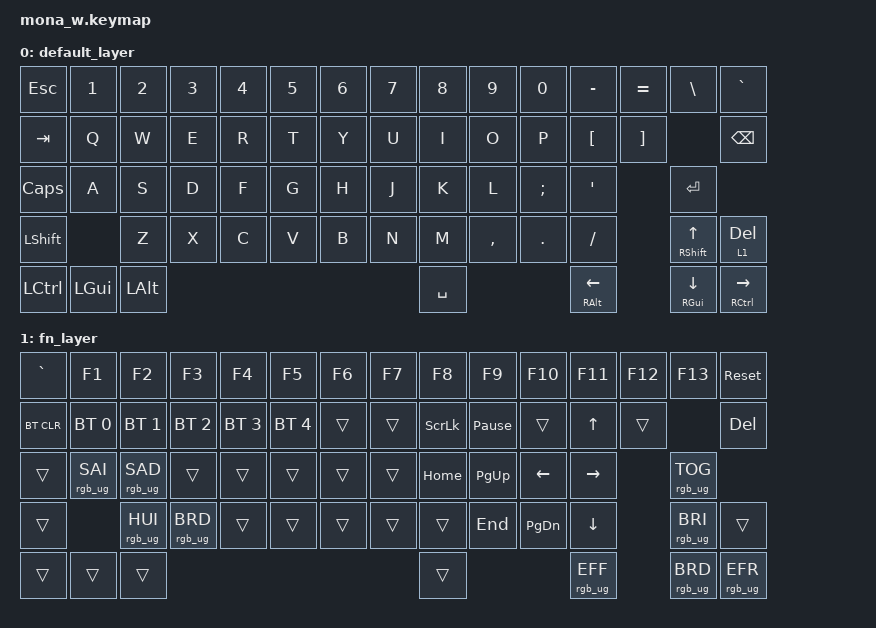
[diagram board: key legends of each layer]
/*
 * Copyright (c) 2023 Ramon Imbao
 *
 * SPDX-License-Identifier: MIT
 */

#include <behaviors.dtsi>
#include <dt-bindings/zmk/bt.h>
#include <dt-bindings/zmk/keys.h>
#include <dt-bindings/zmk/rgb.h>

/ {
    keymap {
        compatible = "zmk,keymap";

        default_layer {
            bindings = <
&kp ESC    &kp N1    &kp N2    &kp N3  &kp N4  &kp N5  &kp N6  &kp N7  &kp N8     &kp N9     &kp N0    &kp MINUS                 &kp EQUAL  &kp BACKSLASH             &kp GRAVE
&kp TAB    &kp Q     &kp W     &kp E   &kp R   &kp T   &kp Y   &kp U   &kp I      &kp O      &kp P     &kp LBKT                  &kp RBKT                             &kp BACKSPACE
&kp CAPS   &kp A     &kp S     &kp D   &kp F   &kp G   &kp H   &kp J   &kp K      &kp L      &kp SEMI  &kp APOS                             &kp ENTER
&kp LSHFT            &kp Z     &kp X   &kp C   &kp V   &kp B   &kp N   &kp M      &kp COMMA  &kp DOT   &kp SLASH                            &mt RIGHT_SHIFT UP_ARROW  &lt 1 DEL
&kp LCTRL  &kp LGUI  &kp LALT                                          &kp SPACE                       &mt RIGHT_ALT LEFT_ARROW             &mt RGUI DOWN_ARROW       &mt RCTRL RIGHT_ARROW
            >;
        };

        fn_layer {
            bindings = <
&kp GRAVE   &kp F1           &kp F2           &kp F3           &kp F4        &kp F5        &kp F6  &kp F7  &kp F8    &kp F9           &kp F10    &kp F11          &kp F12  &kp F13          &sys_reset
&bt BT_CLR  &bt BT_SEL 0     &bt BT_SEL 1     &bt BT_SEL 2     &bt BT_SEL 3  &bt BT_SEL 4  &trans  &trans  &kp SLCK  &kp PAUSE_BREAK  &trans     &kp UP           &trans                    &kp DELETE
&trans      &rgb_ug RGB_SAI  &rgb_ug RGB_SAD  &trans           &trans        &trans        &trans  &trans  &kp HOME  &kp PG_UP        &kp LEFT   &kp RIGHT                 &rgb_ug RGB_TOG
&trans                       &rgb_ug RGB_HUI  &rgb_ug RGB_BRD  &trans        &trans        &trans  &trans  &trans    &kp END          &kp PG_DN  &kp DOWN                  &rgb_ug RGB_BRI  &trans
&trans      &trans           &trans                                                                        &trans                                &rgb_ug RGB_EFF           &rgb_ug RGB_BRD  &rgb_ug RGB_EFR
            >;
        };
    };
};
